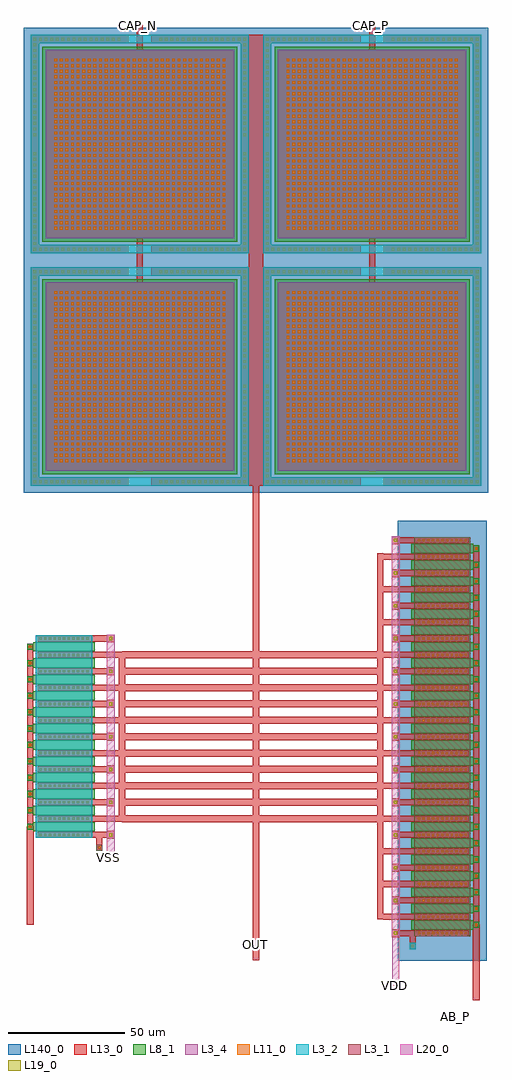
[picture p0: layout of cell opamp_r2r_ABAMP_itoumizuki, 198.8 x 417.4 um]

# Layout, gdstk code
from math import pi, radians
import gdstk
lib = gdstk.Library(unit=1e-6, precision=1e-07)
def R(c, l, rs):  # rectangles x0, y0, x1, y1
    for r in rs: c.add(gdstk.rectangle(r[:2], r[2:], *l))
def A(c, l, x, y, w, h, nx, ny, dx, dy):  # array of equal rectangles
    R(c, l, [(x+i*dx, y+j*dy, x+i*dx+w, y+j*dy+h) for i in range(nx) for j in range(ny)])
def P(c, l, *ps):  # polygons
    for p in ps: c.add(gdstk.Polygon(p, *l))
L3_1 = (3, 1)
L3_2 = (3, 2)
L3_4 = (3, 4)
L8_1 = (8, 1)
L11_0 = (11, 0)
L13_0 = (13, 0)
L19_0 = (19, 0)
L20_0 = (20, 0)
L140_0 = (140, 0)

moscap = lib.new_cell('moscap')
P(moscap, L3_2, [(-46.7,-46.7),(-46.7,43.1),(-43.1,43.1),(-43.1,-43.1),(43.1,-43.1),(43.1,43.1),(-46.7,43.1),(-46.7,46.7),(46.7,46.7),(46.7,-46.7)])
R(moscap, L3_4, [(-40.3,-40.3,40.3,40.3)])
R(moscap, L8_1, [(-41.7,-41.7,41.7,41.7)])
A(moscap, L11_0, -45.5, -45.5, 1.2, 1.2, 1, 18, 0, 2.4)
A(moscap, L11_0, -45.5, -45.5, 1.2, 1.2, 16, 2, 2.4, 89.8)
A(moscap, L11_0, 8.3, -45.5, 1.2, 1.2, 16, 2, 2.4, 89.8)
A(moscap, L11_0, 44.3, -45.5, 1.2, 1.2, 1, 18, 0, 2.4)
A(moscap, L11_0, -36.6, -36.6, 1.2, 1.2, 31, 31, 2.4, 2.4)
A(moscap, L11_0, -45.5, 3.5, 1.2, 1.2, 1, 18, 0, 2.4)
A(moscap, L11_0, 44.3, 3.5, 1.2, 1.2, 1, 18, 0, 2.4)
R(moscap, L13_0, [(-40.3,-40.3,40.3,40.3)])
P(moscap, L13_0, [(-46.7,-46.7),(-46.7,46.7),(-5,46.7),(-5,43.1),(-43.1,43.1),(-43.1,-43.1),(-5,-43.1),(-5,-46.7)],
  [(5,-46.7),(5,-43.1),(43.1,-43.1),(43.1,43.1),(5,43.1),(5,46.7),(46.7,46.7),(46.7,-46.7)])
R(moscap, L140_0, [(-49.7,-49.7,49.7,49.7)])

fet_p = lib.new_cell('fet_p')
R(fet_p, L3_1, [(-85.3,-12,85.3,12)])
A(fet_p, L11_0, -84.5, -10.5, 1, 1, 25, 11, 7, 2)
A(fet_p, L13_0, -85.3, -11.3, 2.6, 22.6, 25, 1, 7, 0)
fet_p.add(gdstk.FlexPath([(3.5,-13.2),(3.5,13.2)], 4, ends="flush", simple_path=True, layer=8, datatype=1))  # L8_1
fet_p.add(gdstk.FlexPath([(-3.5,-13.2),(-3.5,13.2)], 4, ends="flush", simple_path=True, layer=8, datatype=1))  # L8_1
fet_p.add(gdstk.FlexPath([(10.5,-13.2),(10.5,13.2)], 4, ends="flush", simple_path=True, layer=8, datatype=1))  # L8_1
fet_p.add(gdstk.FlexPath([(-10.5,-13.2),(-10.5,13.2)], 4, ends="flush", simple_path=True, layer=8, datatype=1))  # L8_1
fet_p.add(gdstk.FlexPath([(17.5,-13.2),(17.5,13.2)], 4, ends="flush", simple_path=True, layer=8, datatype=1))  # L8_1
fet_p.add(gdstk.FlexPath([(-17.5,-13.2),(-17.5,13.2)], 4, ends="flush", simple_path=True, layer=8, datatype=1))  # L8_1
fet_p.add(gdstk.FlexPath([(24.5,-13.2),(24.5,13.2)], 4, ends="flush", simple_path=True, layer=8, datatype=1))  # L8_1
fet_p.add(gdstk.FlexPath([(-24.5,-13.2),(-24.5,13.2)], 4, ends="flush", simple_path=True, layer=8, datatype=1))  # L8_1
fet_p.add(gdstk.FlexPath([(31.5,-13.2),(31.5,13.2)], 4, ends="flush", simple_path=True, layer=8, datatype=1))  # L8_1
fet_p.add(gdstk.FlexPath([(-31.5,-13.2),(-31.5,13.2)], 4, ends="flush", simple_path=True, layer=8, datatype=1))  # L8_1
fet_p.add(gdstk.FlexPath([(38.5,-13.2),(38.5,13.2)], 4, ends="flush", simple_path=True, layer=8, datatype=1))  # L8_1
fet_p.add(gdstk.FlexPath([(-38.5,-13.2),(-38.5,13.2)], 4, ends="flush", simple_path=True, layer=8, datatype=1))  # L8_1
fet_p.add(gdstk.FlexPath([(45.5,-13.2),(45.5,13.2)], 4, ends="flush", simple_path=True, layer=8, datatype=1))  # L8_1
fet_p.add(gdstk.FlexPath([(-45.5,-13.2),(-45.5,13.2)], 4, ends="flush", simple_path=True, layer=8, datatype=1))  # L8_1
fet_p.add(gdstk.FlexPath([(52.5,-13.2),(52.5,13.2)], 4, ends="flush", simple_path=True, layer=8, datatype=1))  # L8_1
fet_p.add(gdstk.FlexPath([(-52.5,-13.2),(-52.5,13.2)], 4, ends="flush", simple_path=True, layer=8, datatype=1))  # L8_1
fet_p.add(gdstk.FlexPath([(59.5,-13.2),(59.5,13.2)], 4, ends="flush", simple_path=True, layer=8, datatype=1))  # L8_1
fet_p.add(gdstk.FlexPath([(-59.5,-13.2),(-59.5,13.2)], 4, ends="flush", simple_path=True, layer=8, datatype=1))  # L8_1
fet_p.add(gdstk.FlexPath([(66.5,-13.2),(66.5,13.2)], 4, ends="flush", simple_path=True, layer=8, datatype=1))  # L8_1
fet_p.add(gdstk.FlexPath([(-66.5,-13.2),(-66.5,13.2)], 4, ends="flush", simple_path=True, layer=8, datatype=1))  # L8_1
fet_p.add(gdstk.FlexPath([(73.5,-13.2),(73.5,13.2)], 4, ends="flush", simple_path=True, layer=8, datatype=1))  # L8_1
fet_p.add(gdstk.FlexPath([(-73.5,-13.2),(-73.5,13.2)], 4, ends="flush", simple_path=True, layer=8, datatype=1))  # L8_1
fet_p.add(gdstk.FlexPath([(80.5,-13.2),(80.5,13.2)], 4, ends="flush", simple_path=True, layer=8, datatype=1))  # L8_1
fet_p.add(gdstk.FlexPath([(-80.5,-13.2),(-80.5,13.2)], 4, ends="flush", simple_path=True, layer=8, datatype=1))  # L8_1

cont_g = lib.new_cell('cont_g')
R(cont_g, L8_1, [(-1.3,-1.3,1.3,1.3)])
R(cont_g, L11_0, [(-0.5,-0.5,0.5,0.5)])
R(cont_g, L13_0, [(-1.3,-1.3,1.3,1.3)])

via_1 = lib.new_cell('via_1')
R(via_1, L13_0, [(-1.7,-1.7,1.7,1.7)])
R(via_1, L19_0, [(-0.7,-0.7,0.7,0.7)])
R(via_1, L20_0, [(-1.7,-1.7,1.7,1.7)])

cont_n = lib.new_cell('cont_n')
R(cont_n, L3_2, [(-1.3,-1.3,1.3,1.3)])
R(cont_n, L11_0, [(-0.5,-0.5,0.5,0.5)])
R(cont_n, L13_0, [(-1.3,-1.3,1.3,1.3)])

cont_p = lib.new_cell('cont_p')
R(cont_p, L3_1, [(-1.3,-1.3,1.3,1.3)])
R(cont_p, L11_0, [(-0.5,-0.5,0.5,0.5)])
R(cont_p, L13_0, [(-1.3,-1.3,1.3,1.3)])

fet_n = lib.new_cell('fet_n')
R(fet_n, L3_2, [(-43.3,-12,43.3,12)])
A(fet_n, L11_0, -42.5, -10.5, 1, 1, 13, 11, 7, 2)
A(fet_n, L13_0, -43.3, -11.3, 2.6, 22.6, 13, 1, 7, 0)
fet_n.add(gdstk.FlexPath([(3.5,-13.2),(3.5,13.2)], 4, ends="flush", simple_path=True, layer=8, datatype=1))  # L8_1
fet_n.add(gdstk.FlexPath([(-3.5,-13.2),(-3.5,13.2)], 4, ends="flush", simple_path=True, layer=8, datatype=1))  # L8_1
fet_n.add(gdstk.FlexPath([(10.5,-13.2),(10.5,13.2)], 4, ends="flush", simple_path=True, layer=8, datatype=1))  # L8_1
fet_n.add(gdstk.FlexPath([(-10.5,-13.2),(-10.5,13.2)], 4, ends="flush", simple_path=True, layer=8, datatype=1))  # L8_1
fet_n.add(gdstk.FlexPath([(17.5,-13.2),(17.5,13.2)], 4, ends="flush", simple_path=True, layer=8, datatype=1))  # L8_1
fet_n.add(gdstk.FlexPath([(-17.5,-13.2),(-17.5,13.2)], 4, ends="flush", simple_path=True, layer=8, datatype=1))  # L8_1
fet_n.add(gdstk.FlexPath([(24.5,-13.2),(24.5,13.2)], 4, ends="flush", simple_path=True, layer=8, datatype=1))  # L8_1
fet_n.add(gdstk.FlexPath([(-24.5,-13.2),(-24.5,13.2)], 4, ends="flush", simple_path=True, layer=8, datatype=1))  # L8_1
fet_n.add(gdstk.FlexPath([(31.5,-13.2),(31.5,13.2)], 4, ends="flush", simple_path=True, layer=8, datatype=1))  # L8_1
fet_n.add(gdstk.FlexPath([(-31.5,-13.2),(-31.5,13.2)], 4, ends="flush", simple_path=True, layer=8, datatype=1))  # L8_1
fet_n.add(gdstk.FlexPath([(38.5,-13.2),(38.5,13.2)], 4, ends="flush", simple_path=True, layer=8, datatype=1))  # L8_1
fet_n.add(gdstk.FlexPath([(-38.5,-13.2),(-38.5,13.2)], 4, ends="flush", simple_path=True, layer=8, datatype=1))  # L8_1

opamp_r2r_abamp_itoumizu = lib.new_cell('opamp_r2r_ABAMP_itoumizuki')
R(opamp_r2r_abamp_itoumizu, L13_0, [(109.1,230,115.1,422.8)])
R(opamp_r2r_abamp_itoumizu, L140_0, [(172.8,26.9,210.8,215)])
opamp_r2r_abamp_itoumizu.add(gdstk.FlexPath([(55.3,87.7),(41.3,87.7)], 2.6, ends="flush", simple_path=True, layer=13, datatype=0))  # L13_0
opamp_r2r_abamp_itoumizu.add(gdstk.FlexPath([(15.5,162.5),(15.5,82.9)], 2.6, ends="flush", simple_path=True, layer=13, datatype=0))  # L13_0
opamp_r2r_abamp_itoumizu.add(gdstk.FlexPath([(54.8,159),(54.8,86.4)], 2.6, ends="flush", simple_path=True, layer=13, datatype=0))  # L13_0
opamp_r2r_abamp_itoumizu.add(gdstk.FlexPath([(55,157.7),(165.9,157.7)], 3, ends="flush", simple_path=True, layer=13, datatype=0))  # L13_0
opamp_r2r_abamp_itoumizu.add(gdstk.FlexPath([(55,150.7),(165.9,150.7)], 3, ends="flush", simple_path=True, layer=13, datatype=0))  # L13_0
opamp_r2r_abamp_itoumizu.add(gdstk.FlexPath([(55,143.7),(165.9,143.7)], 3, ends="flush", simple_path=True, layer=13, datatype=0))  # L13_0
opamp_r2r_abamp_itoumizu.add(gdstk.FlexPath([(55,136.7),(165.9,136.7)], 3, ends="flush", simple_path=True, layer=13, datatype=0))  # L13_0
opamp_r2r_abamp_itoumizu.add(gdstk.FlexPath([(55,129.7),(165.9,129.7)], 3, ends="flush", simple_path=True, layer=13, datatype=0))  # L13_0
opamp_r2r_abamp_itoumizu.add(gdstk.FlexPath([(55,122.7),(165.9,122.7)], 3, ends="flush", simple_path=True, layer=13, datatype=0))  # L13_0
opamp_r2r_abamp_itoumizu.add(gdstk.FlexPath([(112.1,159),(112.1,27)], 2.6, ends="flush", simple_path=True, layer=13, datatype=0))  # L13_0
opamp_r2r_abamp_itoumizu.add(gdstk.FlexPath([(45.1,74),(45.1,79.4)], 2.6, ends="flush", simple_path=True, layer=13, datatype=0))  # L13_0
opamp_r2r_abamp_itoumizu.add(gdstk.FlexPath([(55,115.7),(165.9,115.7)], 3, ends="flush", simple_path=True, layer=13, datatype=0))  # L13_0
opamp_r2r_abamp_itoumizu.add(gdstk.FlexPath([(48.3,164.7),(41.3,164.7)], 2.6, ends="flush", simple_path=True, layer=13, datatype=0))  # L13_0
opamp_r2r_abamp_itoumizu.add(gdstk.FlexPath([(48.3,150.7),(41.3,150.7)], 2.6, ends="flush", simple_path=True, layer=13, datatype=0))  # L13_0
opamp_r2r_abamp_itoumizu.add(gdstk.FlexPath([(15.5,84.1),(15.5,42.2)], 3, ends="flush", simple_path=True, layer=13, datatype=0))  # L13_0
opamp_r2r_abamp_itoumizu.add(gdstk.FlexPath([(48.3,136.7),(41.3,136.7)], 2.6, ends="flush", simple_path=True, layer=13, datatype=0))  # L13_0
opamp_r2r_abamp_itoumizu.add(gdstk.FlexPath([(180.5,199.7),(166.5,199.7)], 2.6, ends="flush", simple_path=True, layer=13, datatype=0))  # L13_0
opamp_r2r_abamp_itoumizu.add(gdstk.FlexPath([(180.5,185.7),(166.5,185.7)], 2.6, ends="flush", simple_path=True, layer=13, datatype=0))  # L13_0
opamp_r2r_abamp_itoumizu.add(gdstk.FlexPath([(180.5,171.7),(166.5,171.7)], 2.6, ends="flush", simple_path=True, layer=13, datatype=0))  # L13_0
opamp_r2r_abamp_itoumizu.add(gdstk.FlexPath([(180.5,157.7),(166.5,157.7)], 2.6, ends="flush", simple_path=True, layer=13, datatype=0))  # L13_0
opamp_r2r_abamp_itoumizu.add(gdstk.FlexPath([(180.5,143.7),(166.5,143.7)], 2.6, ends="flush", simple_path=True, layer=13, datatype=0))  # L13_0
opamp_r2r_abamp_itoumizu.add(gdstk.FlexPath([(180.5,129.7),(166.5,129.7)], 2.6, ends="flush", simple_path=True, layer=13, datatype=0))  # L13_0
opamp_r2r_abamp_itoumizu.add(gdstk.FlexPath([(180.5,115.7),(166.5,115.7)], 2.6, ends="flush", simple_path=True, layer=13, datatype=0))  # L13_0
opamp_r2r_abamp_itoumizu.add(gdstk.FlexPath([(112.1,142.4),(112.1,231.1)], 2.6, ends="flush", simple_path=True, layer=13, datatype=0))  # L13_0
opamp_r2r_abamp_itoumizu.add(gdstk.FlexPath([(62.4,236.3),(62.4,427.5)], 2.6, ends="flush", simple_path=True, layer=13, datatype=0))  # L13_0
opamp_r2r_abamp_itoumizu.add(gdstk.FlexPath([(161.8,236.3),(161.8,427.5)], 2.6, ends="flush", simple_path=True, layer=13, datatype=0))  # L13_0
opamp_r2r_abamp_itoumizu.add(gdstk.FlexPath([(180.5,101.7),(166.5,101.7)], 2.6, ends="flush", simple_path=True, layer=13, datatype=0))  # L13_0
opamp_r2r_abamp_itoumizu.add(gdstk.FlexPath([(180.5,87.7),(166.5,87.7)], 2.6, ends="flush", simple_path=True, layer=13, datatype=0))  # L13_0
opamp_r2r_abamp_itoumizu.add(gdstk.FlexPath([(180.5,73.7),(166.5,73.7)], 2.6, ends="flush", simple_path=True, layer=13, datatype=0))  # L13_0
opamp_r2r_abamp_itoumizu.add(gdstk.FlexPath([(180.5,59.7),(166.5,59.7)], 2.6, ends="flush", simple_path=True, layer=13, datatype=0))  # L13_0
opamp_r2r_abamp_itoumizu.add(gdstk.FlexPath([(180.5,45.7),(166.5,45.7)], 2.6, ends="flush", simple_path=True, layer=13, datatype=0))  # L13_0
opamp_r2r_abamp_itoumizu.add(gdstk.FlexPath([(206.3,204.5),(206.3,40.9)], 2.6, ends="flush", simple_path=True, layer=13, datatype=0))  # L13_0
opamp_r2r_abamp_itoumizu.add(gdstk.FlexPath([(165.2,44.6),(165.2,201.2)], 2.6, ends="flush", simple_path=True, layer=13, datatype=0))  # L13_0
opamp_r2r_abamp_itoumizu.add(gdstk.FlexPath([(179.1,31.9),(179.1,37.4)], 2.6, ends="flush", simple_path=True, layer=13, datatype=0))  # L13_0
opamp_r2r_abamp_itoumizu.add(gdstk.FlexPath([(180.5,206.7),(173.5,206.7)], 2.6, ends="flush", simple_path=True, layer=13, datatype=0))  # L13_0
opamp_r2r_abamp_itoumizu.add(gdstk.FlexPath([(180.5,192.7),(173.5,192.7)], 2.6, ends="flush", simple_path=True, layer=13, datatype=0))  # L13_0
opamp_r2r_abamp_itoumizu.add(gdstk.FlexPath([(180.5,178.7),(173.5,178.7)], 2.6, ends="flush", simple_path=True, layer=13, datatype=0))  # L13_0
opamp_r2r_abamp_itoumizu.add(gdstk.FlexPath([(180.5,164.7),(173.5,164.7)], 2.6, ends="flush", simple_path=True, layer=13, datatype=0))  # L13_0
opamp_r2r_abamp_itoumizu.add(gdstk.FlexPath([(180.5,150.7),(173.5,150.7)], 2.6, ends="flush", simple_path=True, layer=13, datatype=0))  # L13_0
opamp_r2r_abamp_itoumizu.add(gdstk.FlexPath([(180.5,136.7),(173.5,136.7)], 2.6, ends="flush", simple_path=True, layer=13, datatype=0))  # L13_0
opamp_r2r_abamp_itoumizu.add(gdstk.FlexPath([(180.5,122.7),(173.5,122.7)], 2.6, ends="flush", simple_path=True, layer=13, datatype=0))  # L13_0
opamp_r2r_abamp_itoumizu.add(gdstk.FlexPath([(180.5,108.7),(173.5,108.7)], 2.6, ends="flush", simple_path=True, layer=13, datatype=0))  # L13_0
opamp_r2r_abamp_itoumizu.add(gdstk.FlexPath([(180.5,94.7),(173.5,94.7)], 2.6, ends="flush", simple_path=True, layer=13, datatype=0))  # L13_0
opamp_r2r_abamp_itoumizu.add(gdstk.FlexPath([(180.5,80.7),(173.5,80.7)], 2.6, ends="flush", simple_path=True, layer=13, datatype=0))  # L13_0
opamp_r2r_abamp_itoumizu.add(gdstk.FlexPath([(180.5,66.7),(173.5,66.7)], 2.6, ends="flush", simple_path=True, layer=13, datatype=0))  # L13_0
opamp_r2r_abamp_itoumizu.add(gdstk.FlexPath([(180.5,52.7),(173.5,52.7)], 2.6, ends="flush", simple_path=True, layer=13, datatype=0))  # L13_0
opamp_r2r_abamp_itoumizu.add(gdstk.FlexPath([(180.5,38.7),(173.5,38.7)], 2.6, ends="flush", simple_path=True, layer=13, datatype=0))  # L13_0
opamp_r2r_abamp_itoumizu.add(gdstk.FlexPath([(206.3,42.2),(206.3,10.1)], 3, ends="flush", simple_path=True, layer=13, datatype=0))  # L13_0
opamp_r2r_abamp_itoumizu.add(gdstk.FlexPath([(55,108.7),(165.9,108.7)], 3, ends="flush", simple_path=True, layer=13, datatype=0))  # L13_0
opamp_r2r_abamp_itoumizu.add(gdstk.FlexPath([(55,101.7),(165.9,101.7)], 3, ends="flush", simple_path=True, layer=13, datatype=0))  # L13_0
opamp_r2r_abamp_itoumizu.add(gdstk.FlexPath([(55,94.7),(165.9,94.7)], 3, ends="flush", simple_path=True, layer=13, datatype=0))  # L13_0
opamp_r2r_abamp_itoumizu.add(gdstk.FlexPath([(55,87.7),(165.9,87.7)], 3, ends="flush", simple_path=True, layer=13, datatype=0))  # L13_0
opamp_r2r_abamp_itoumizu.add(gdstk.FlexPath([(48.3,122.7),(41.3,122.7)], 2.6, ends="flush", simple_path=True, layer=13, datatype=0))  # L13_0
opamp_r2r_abamp_itoumizu.add(gdstk.FlexPath([(48.3,108.7),(41.3,108.7)], 2.6, ends="flush", simple_path=True, layer=13, datatype=0))  # L13_0
opamp_r2r_abamp_itoumizu.add(gdstk.FlexPath([(48.3,94.7),(41.3,94.7)], 2.6, ends="flush", simple_path=True, layer=13, datatype=0))  # L13_0
opamp_r2r_abamp_itoumizu.add(gdstk.FlexPath([(48.3,80.7),(41.3,80.7)], 2.6, ends="flush", simple_path=True, layer=13, datatype=0))  # L13_0
opamp_r2r_abamp_itoumizu.add(gdstk.FlexPath([(55.3,157.7),(41.3,157.7)], 2.6, ends="flush", simple_path=True, layer=13, datatype=0))  # L13_0
opamp_r2r_abamp_itoumizu.add(gdstk.FlexPath([(55.3,143.7),(41.3,143.7)], 2.6, ends="flush", simple_path=True, layer=13, datatype=0))  # L13_0
opamp_r2r_abamp_itoumizu.add(gdstk.FlexPath([(55.3,129.7),(41.3,129.7)], 2.6, ends="flush", simple_path=True, layer=13, datatype=0))  # L13_0
opamp_r2r_abamp_itoumizu.add(gdstk.FlexPath([(55.3,115.7),(41.3,115.7)], 2.6, ends="flush", simple_path=True, layer=13, datatype=0))  # L13_0
opamp_r2r_abamp_itoumizu.add(gdstk.FlexPath([(55.3,101.7),(41.3,101.7)], 2.6, ends="flush", simple_path=True, layer=13, datatype=0))  # L13_0
opamp_r2r_abamp_itoumizu.add(gdstk.FlexPath([(50,166.4),(50,71.4)], 3.4, ends="flush", simple_path=True, layer=20, datatype=0))  # L20_0
opamp_r2r_abamp_itoumizu.add(gdstk.FlexPath([(171.8,37),(171.8,16.3)], 3, ends="flush", simple_path=True, layer=20, datatype=0))  # L20_0
opamp_r2r_abamp_itoumizu.add(gdstk.FlexPath([(171.8,208.4),(171.8,37)], 3.4, ends="flush", simple_path=True, layer=20, datatype=0))  # L20_0
opamp_r2r_abamp_itoumizu.add(gdstk.Reference(moscap, (161.8,376.1)))
opamp_r2r_abamp_itoumizu.add(gdstk.Reference(moscap, (62.4,376.1)))
opamp_r2r_abamp_itoumizu.add(gdstk.Reference(moscap, (161.8,376.1)))
opamp_r2r_abamp_itoumizu.add(gdstk.Reference(moscap, (62.4,376.1)))
opamp_r2r_abamp_itoumizu.add(gdstk.Reference(fet_p, (191.8,122.7), rotation=3*pi/2))
opamp_r2r_abamp_itoumizu.add(gdstk.Reference(cont_g, (206.3,189.2), rotation=3*pi/2))
opamp_r2r_abamp_itoumizu.add(gdstk.Reference(moscap, (161.8,276.7)))
opamp_r2r_abamp_itoumizu.add(gdstk.Reference(moscap, (62.4,276.7)))
opamp_r2r_abamp_itoumizu.add(gdstk.Reference(moscap, (62.4,276.7)))
opamp_r2r_abamp_itoumizu.add(gdstk.Reference(cont_g, (206.3,196.2), rotation=3*pi/2))
opamp_r2r_abamp_itoumizu.add(gdstk.Reference(via_1, (171.8,206.7), rotation=3*pi/2))
opamp_r2r_abamp_itoumizu.add(gdstk.Reference(cont_g, (206.3,203.2), rotation=3*pi/2))
opamp_r2r_abamp_itoumizu.add(gdstk.Reference(via_1, (171.8,192.7), rotation=3*pi/2))
opamp_r2r_abamp_itoumizu.add(gdstk.Reference(moscap, (161.8,276.7)))
opamp_r2r_abamp_itoumizu.add(gdstk.Reference(via_1, (171.8,122.7), rotation=3*pi/2))
opamp_r2r_abamp_itoumizu.add(gdstk.Reference(via_1, (171.8,108.7), rotation=3*pi/2))
opamp_r2r_abamp_itoumizu.add(gdstk.Reference(via_1, (171.8,94.7), rotation=3*pi/2))
opamp_r2r_abamp_itoumizu.add(gdstk.Reference(via_1, (50,122.7), rotation=3*pi/2))
opamp_r2r_abamp_itoumizu.add(gdstk.Reference(via_1, (171.8,80.7), rotation=3*pi/2))
opamp_r2r_abamp_itoumizu.add(gdstk.Reference(via_1, (171.8,66.7), rotation=3*pi/2))
opamp_r2r_abamp_itoumizu.add(gdstk.Reference(via_1, (171.8,52.7), rotation=3*pi/2))
opamp_r2r_abamp_itoumizu.add(gdstk.Reference(via_1, (171.8,38.7), rotation=3*pi/2))
opamp_r2r_abamp_itoumizu.add(gdstk.Reference(via_1, (50,108.7), rotation=3*pi/2))
opamp_r2r_abamp_itoumizu.add(gdstk.Reference(via_1, (50,94.7), rotation=3*pi/2))
opamp_r2r_abamp_itoumizu.add(gdstk.Reference(cont_n, (179.1,33.2), rotation=3*pi/2))
opamp_r2r_abamp_itoumizu.add(gdstk.Reference(cont_g, (206.3,49.2), rotation=3*pi/2))
opamp_r2r_abamp_itoumizu.add(gdstk.Reference(cont_g, (206.3,91.2), rotation=3*pi/2))
opamp_r2r_abamp_itoumizu.add(gdstk.Reference(cont_g, (206.3,182.2), rotation=3*pi/2))
opamp_r2r_abamp_itoumizu.add(gdstk.Reference(cont_g, (206.3,168.2), rotation=3*pi/2))
opamp_r2r_abamp_itoumizu.add(gdstk.Reference(cont_g, (206.3,154.2), rotation=3*pi/2))
opamp_r2r_abamp_itoumizu.add(gdstk.Reference(cont_g, (206.3,140.2), rotation=3*pi/2))
opamp_r2r_abamp_itoumizu.add(gdstk.Reference(via_1, (50,80.7), rotation=3*pi/2))
opamp_r2r_abamp_itoumizu.add(gdstk.Reference(cont_g, (206.3,126.2), rotation=3*pi/2))
opamp_r2r_abamp_itoumizu.add(gdstk.Reference(cont_g, (206.3,112.2), rotation=3*pi/2))
opamp_r2r_abamp_itoumizu.add(gdstk.Reference(cont_g, (206.3,98.2), rotation=3*pi/2))
opamp_r2r_abamp_itoumizu.add(gdstk.Reference(cont_p, (45.1,75.3), rotation=3*pi/2))
opamp_r2r_abamp_itoumizu.add(gdstk.Reference(cont_g, (206.3,84.2), rotation=3*pi/2))
opamp_r2r_abamp_itoumizu.add(gdstk.Reference(cont_g, (206.3,70.2), rotation=3*pi/2))
opamp_r2r_abamp_itoumizu.add(gdstk.Reference(fet_n, (30,122.7), rotation=3*pi/2))
opamp_r2r_abamp_itoumizu.add(gdstk.Reference(cont_g, (206.3,56.2), rotation=3*pi/2))
opamp_r2r_abamp_itoumizu.add(gdstk.Reference(cont_g, (206.3,42.2), rotation=3*pi/2))
opamp_r2r_abamp_itoumizu.add(gdstk.Reference(cont_g, (206.3,77.2), rotation=3*pi/2))
opamp_r2r_abamp_itoumizu.add(gdstk.Reference(cont_g, (15.5,154.2), rotation=3*pi/2))
opamp_r2r_abamp_itoumizu.add(gdstk.Reference(cont_g, (206.3,63.2), rotation=3*pi/2))
opamp_r2r_abamp_itoumizu.add(gdstk.Reference(via_1, (171.8,178.7), rotation=3*pi/2))
opamp_r2r_abamp_itoumizu.add(gdstk.Reference(cont_g, (15.5,147.2), rotation=3*pi/2))
opamp_r2r_abamp_itoumizu.add(gdstk.Reference(cont_g, (15.5,140.2), rotation=3*pi/2))
opamp_r2r_abamp_itoumizu.add(gdstk.Reference(cont_g, (15.5,133.2), rotation=3*pi/2))
opamp_r2r_abamp_itoumizu.add(gdstk.Reference(cont_g, (15.5,126.2), rotation=3*pi/2))
opamp_r2r_abamp_itoumizu.add(gdstk.Reference(cont_g, (15.5,161.2), rotation=3*pi/2))
opamp_r2r_abamp_itoumizu.add(gdstk.Reference(cont_g, (15.5,119.2), rotation=3*pi/2))
opamp_r2r_abamp_itoumizu.add(gdstk.Reference(cont_g, (15.5,112.2), rotation=3*pi/2))
opamp_r2r_abamp_itoumizu.add(gdstk.Reference(cont_g, (15.5,105.2), rotation=3*pi/2))
opamp_r2r_abamp_itoumizu.add(gdstk.Reference(via_1, (171.8,164.7), rotation=3*pi/2))
opamp_r2r_abamp_itoumizu.add(gdstk.Reference(via_1, (171.8,150.7), rotation=3*pi/2))
opamp_r2r_abamp_itoumizu.add(gdstk.Reference(via_1, (171.8,136.7), rotation=3*pi/2))
opamp_r2r_abamp_itoumizu.add(gdstk.Reference(cont_g, (15.5,98.2), rotation=3*pi/2))
opamp_r2r_abamp_itoumizu.add(gdstk.Reference(cont_g, (15.5,91.2), rotation=3*pi/2))
opamp_r2r_abamp_itoumizu.add(gdstk.Reference(cont_g, (15.5,84.2), rotation=3*pi/2))
opamp_r2r_abamp_itoumizu.add(gdstk.Reference(cont_g, (206.3,175.2), rotation=3*pi/2))
opamp_r2r_abamp_itoumizu.add(gdstk.Reference(cont_g, (206.3,161.2), rotation=3*pi/2))
opamp_r2r_abamp_itoumizu.add(gdstk.Reference(cont_g, (206.3,147.2), rotation=3*pi/2))
opamp_r2r_abamp_itoumizu.add(gdstk.Reference(via_1, (50,164.7), rotation=3*pi/2))
opamp_r2r_abamp_itoumizu.add(gdstk.Reference(via_1, (50,150.7), rotation=3*pi/2))
opamp_r2r_abamp_itoumizu.add(gdstk.Reference(cont_g, (206.3,133.2), rotation=3*pi/2))
opamp_r2r_abamp_itoumizu.add(gdstk.Reference(via_1, (50,136.7), rotation=3*pi/2))
opamp_r2r_abamp_itoumizu.add(gdstk.Reference(cont_g, (206.3,119.2), rotation=3*pi/2))
opamp_r2r_abamp_itoumizu.add(gdstk.Reference(cont_g, (206.3,105.2), rotation=3*pi/2))
opamp_r2r_abamp_itoumizu.add(gdstk.Label('OUT', (111.9,33.8), layer=48, texttype=0))
opamp_r2r_abamp_itoumizu.add(gdstk.Label('AB_P', (197.3,0), layer=48, texttype=0))
opamp_r2r_abamp_itoumizu.add(gdstk.Label('CAP_P', (161.1,426.8), layer=48, texttype=0))
opamp_r2r_abamp_itoumizu.add(gdstk.Label('CAP_N', (61.6,426.9), layer=48, texttype=0))
opamp_r2r_abamp_itoumizu.add(gdstk.Label('AB_N', (0,31.3), layer=48, texttype=0))
opamp_r2r_abamp_itoumizu.add(gdstk.Label('VSS', (48.9,71.1), layer=49, texttype=0))
opamp_r2r_abamp_itoumizu.add(gdstk.Label('VDD', (171.5,16.3), layer=49, texttype=0))

lib.write_gds('opamp_r2r_ABAMP_itoumizuki.gds')
